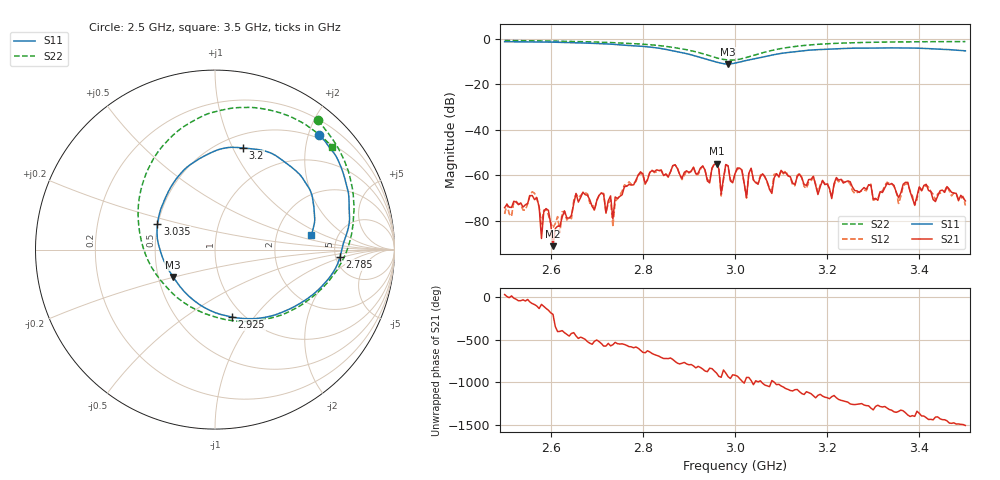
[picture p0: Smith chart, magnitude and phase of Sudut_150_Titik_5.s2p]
# Hz S RI R 50
! CMT, C1220, 16058040, 17.2.0/1
! Date: 15/08/2018 10:24:56
! Data: Format (Calibration Info)
! Freq  S11: Re/Im (F2)  S21: Re/Im (F2)  S12: Re/Im (F2)  S22: Re/Im (F2)
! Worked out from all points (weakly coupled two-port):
!   201 points, 2.5 GHz to 3.5 GHz, reference 50 ohm
!   highest |S21| = -54.90 dB at 2.96 GHz (marker M1); lowest = -91.2 dB at 2.605 GHz (marker M2)
!   lowest |S11| = -11.1 dB at 2.985 GHz (marker M3), VSWR 1.77, Z = 29.8 - j9.83 ohm
!   |S11| at or under -10 dB: 2.955 GHz to 3.015 GHz (59.72 MHz wide, 2 % of centre)
!   |S22| runs from -9.4 to -0.7 dB; largest |S21 - S12| = 0.00017
!   S11 on the Smith chart (normalised r, x): 2.5 GHz: 0.43, +2.19; 2.785 GHz: 5.47, -0.86; 2.925 GHz: 0.88, -0.78; 3.035 GHz: 0.50, +0.16; 3.2 GHz: 0.63, +1.10; 3.5 GHz: 3.20, +0.72
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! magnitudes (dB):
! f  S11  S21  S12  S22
! 2.5 GHz  -1.3  -74.3  -77.0  -0.7
! 2.56 GHz  -1.4  -68.9  -67.3  -0.9
! 2.605 GHz  -1.5  -91.2  -83.1  -1.0
! 2.67 GHz  -1.8  -67.4  -67.7  -1.3
! 2.73 GHz  -2.3  -69.1  -70.8  -1.7
! 2.735 GHz  -2.4  -79.3  -82.7  -1.7
! 2.74 GHz  -2.5  -69.5  -71.4  -1.7
! 2.785 GHz  -3.1  -62.1  -62.7  -2.2
! 2.835 GHz  -4.1  -57.9  -58.0  -3.0
! 2.925 GHz  -8.2  -56.8  -57.4  -6.3
! 2.96 GHz  -10.3  -54.9  -54.5  -8.4
! 2.97 GHz  -10.7  -68.2  -69.1  -8.9
! 2.985 GHz  -11.1  -55.9  -55.9  -9.3
! 3 GHz  -10.7  -59.3  -59.4  -9.3
! 3.025 GHz  -9.5  -69.8  -70.1  -8.2
! 3.035 GHz  -9.1  -56.9  -57.2  -7.6
! 3.08 GHz  -7.2  -68.0  -66.5  -5.1
! 3.1 GHz  -6.4  -57.9  -58.1  -4.3
! 3.17 GHz  -4.9  -60.4  -60.7  -2.6
! 3.2 GHz  -4.6  -63.8  -63.2  -2.2
! 3.335 GHz  -4.0  -64.1  -63.6  -1.4
! 3.5 GHz  -5.3  -71.3  -73.3  -1.2
